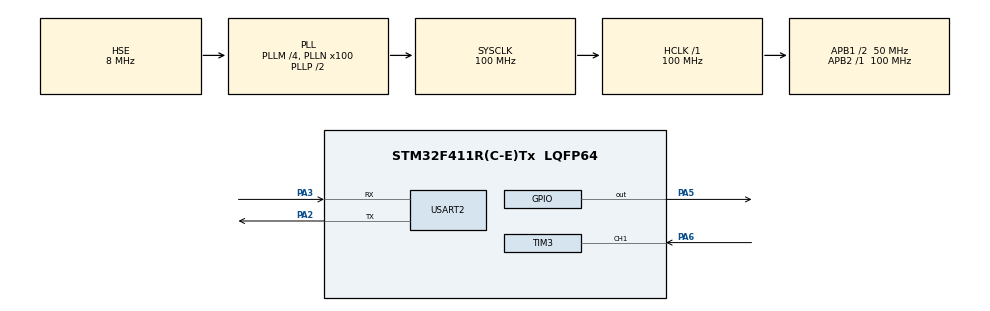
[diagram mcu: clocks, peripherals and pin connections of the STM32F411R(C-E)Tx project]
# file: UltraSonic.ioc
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Mcu.Family=STM32F4
Mcu.Name=STM32F411R(C-E)Tx
Mcu.Package=LQFP64
NVIC.PriorityGroup=NVIC_PRIORITYGROUP_4
NVIC.TIM3_IRQn=true\:0\:0\:false\:false\:true\:true\:true\:true
NVIC.USART2_IRQn=true\:0\:0\:false\:false\:true\:true\:true\:true
PA13.Mode=Serial_Wire
PA13.Signal=SYS_JTMS-SWDIO
PA14.Mode=Serial_Wire
PA14.Signal=SYS_JTCK-SWCLK
PA2.Mode=Asynchronous
PA2.Signal=USART2_TX
PA3.Mode=Asynchronous
PA3.Signal=USART2_RX
PA5.GPIO_Speed=GPIO_SPEED_FREQ_HIGH
PA5.Signal=GPIO_Output
PA6.Signal=S_TIM3_CH1
PH0\ -\ OSC_IN.Mode=HSE-External-Oscillator
PH0\ -\ OSC_IN.Signal=RCC_OSC_IN
PH1\ -\ OSC_OUT.Mode=HSE-External-Oscillator
PH1\ -\ OSC_OUT.Signal=RCC_OSC_OUT
ProjectManager.HeapSize=0x200
ProjectManager.StackSize=0x400
ProjectManager.TargetToolchain=STM32CubeIDE
RCC.48MHZClocksFreq_Value=50000000
RCC.AHBFreq_Value=100000000
RCC.APB1CLKDivider=RCC_HCLK_DIV2
RCC.APB1Freq_Value=50000000
RCC.APB1TimFreq_Value=100000000
RCC.APB2Freq_Value=100000000
RCC.APB2TimFreq_Value=100000000
RCC.CortexFreq_Value=100000000
RCC.HCLKFreq_Value=100000000
RCC.HSE_VALUE=8000000
RCC.HSI_VALUE=16000000
RCC.LSE_VALUE=32768
RCC.PLLM=4
RCC.PLLN=100
RCC.PLLSourceVirtual=RCC_PLLSOURCE_HSE
RCC.SYSCLKFreq_VALUE=100000000
RCC.SYSCLKSource=RCC_SYSCLKSOURCE_PLLCLK
RCC.VCOOutputFreq_Value=200000000
SH.S_TIM3_CH1.0=TIM3_CH1,Input_Capture1_from_TI1
TIM3.Channel-Input_Capture1_from_TI1=TIM_CHANNEL_1
TIM3.Prescaler=100-1
USART2.VirtualMode=VM_ASYNC
VP_TIM3_VS_ClockSourceINT.Mode=Internal
board=custom

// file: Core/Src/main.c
/* USER CODE BEGIN Header */
/**
  ******************************************************************************
  * @file           : main.c
  * @brief          : Main program body
  ******************************************************************************
  * @attention
  *
  * Copyright (c) 2023 STMicroelectronics.
  * All rights reserved.
  *
  * This software is licensed under terms that can be found in the LICENSE file
  * in the root directory of this software component.
  * If no LICENSE file comes with this software, it is provided AS-IS.
  *
  ******************************************************************************
  */
/* USER CODE END Header */
#include "main.h"
#include "tim.h"
#include "usart.h"
#include "gpio.h"

/* USER CODE BEGIN Includes */

#include "delay.h"
#include "stdio.h"

/* USER CODE END Includes */

/* USER CODE BEGIN PD */

#define TRIG_PORT   GPIOA
#define TRIG_PIN    GPIO_PIN_5

/* USER CODE END PD */

/* USER CODE BEGIN PM */
#ifdef __GNUC__
  /* With GCC, small printf (option LD Linker->Libraries->Small printf
     set to 'Yes') calls __io_putchar() */
  #define PUTCHAR_PROTOTYPE int __io_putchar(int ch)
#else
  #define PUTCHAR_PROTOTYPE int fputc(int ch, FILE *f)
#endif /* __GNUC__ */
PUTCHAR_PROTOTYPE
{
  /* Place your implementation of fputc here */
  /* e.g. write a character to the EVAL_COM1 and Loop until the end of transmission */
  HAL_UART_Transmit(&huart2, (uint8_t *)&ch, 1, 0xFFFF);

  return ch;
}
/* USER CODE END PM */

/* USER CODE BEGIN PV */

uint32_t INC_Value1 =0;         //first capture
uint32_t INC_Value2 =0;         //2nd capture
uint32_t ecoTime =0;            //between Rising falling
uint8_t captureFlag =0;         //status
uint8_t distance =0;            //distancd

/* USER CODE END PV */

void SystemClock_Config(void);
/* USER CODE BEGIN PFP */

void HAL_TIM_IC_CaptureHalfCpltCallback(TIM_HandleTypeDef *htim)
{

  if(htim->Channel == HAL_TIM_ACTIVE_CHANNEL_1)
  {
    if(captureFlag == 0)    //1st value not captured
    {
      INC_Value1 = HAL_TIM_ReadCapturedValue(&htim3, TIM_CHANNEL_1);        //read the 1st value
      captureFlag = 1;
      __HAL_TIM_SET_CAPTUREPOLARITY(htim,TIM_CHANNEL_1,TIM_INPUTCHANNELPOLARITY_FALLING);
    }
    else if(captureFlag == 1)       //1st is already value
    { INC_Value2 = HAL_TIM_ReadCapturedValue(&htim3, TIM_CHANNEL_1);
      __HAL_TIM_SET_COUNTER(htim,0);

      if(INC_Value2 > INC_Value1)
      {
        ecoTime = INC_Value2 - INC_Value1;
      }
      else if(INC_Value1 > INC_Value2)
      {
        ecoTime = (0xffff-INC_Value1) + INC_Value2;
      }
      distance = ecoTime/58;
      captureFlag = 0;

      __HAL_TIM_SET_CAPTUREPOLARITY(htim,TIM_CHANNEL_1,TIM_INPUTCHANNELPOLARITY_RISING);
      __HAL_TIM_DISABLE_IT(&htim3,TIM_IT_CC1);
    }
  }

}

void HCSR04(void)           //trig pin 10us
{

  HAL_GPIO_WritePin(TRIG_PORT, TRIG_PIN, GPIO_PIN_SET);
  delay_us(10);
  HAL_GPIO_WritePin(TRIG_PORT, TRIG_PIN, GPIO_PIN_RESET);

  __HAL_TIM_ENABLE_IT(&htim3,TIM_IT_CC1);
}

/* USER CODE END PFP */

int main(void)
{

  /* MCU Configuration--------------------------------------------------------*/

  /* Reset of all peripherals, Initializes the Flash interface and the Systick. */
  HAL_Init();

  /* Configure the system clock */
  SystemClock_Config();

  /* Initialize all configured peripherals */
  MX_GPIO_Init();
  MX_TIM3_Init();
  MX_USART2_UART_Init();
  /* USER CODE BEGIN 2 */
  HAL_TIM_IC_Start_IT(&htim3, TIM_CHANNEL_1);
  /* USER CODE END 2 */

  /* Infinite loop */
  while (1)
  {

    /* USER CODE BEGIN 3 */
    HCSR04();
    printf("%d cm\r\n",distance);
    HAL_Delay(500);
  }
  /* USER CODE END 3 */
}

void SystemClock_Config(void)
{
  RCC_OscInitTypeDef RCC_OscInitStruct = {0};
  RCC_ClkInitTypeDef RCC_ClkInitStruct = {0};

  /** Configure the main internal regulator output voltage
  */
  __HAL_RCC_PWR_CLK_ENABLE();
  __HAL_PWR_VOLTAGESCALING_CONFIG(PWR_REGULATOR_VOLTAGE_SCALE1);

  /** Initializes the RCC Oscillators according to the specified parameters
  * in the RCC_OscInitTypeDef structure.
  */
  RCC_OscInitStruct.OscillatorType = RCC_OSCILLATORTYPE_HSE;
  RCC_OscInitStruct.HSEState = RCC_HSE_ON;
  RCC_OscInitStruct.PLL.PLLState = RCC_PLL_ON;
  RCC_OscInitStruct.PLL.PLLSource = RCC_PLLSOURCE_HSE;
  RCC_OscInitStruct.PLL.PLLM = 4;
  RCC_OscInitStruct.PLL.PLLN = 100;
  RCC_OscInitStruct.PLL.PLLP = RCC_PLLP_DIV2;
  RCC_OscInitStruct.PLL.PLLQ = 4;
  if (HAL_RCC_OscConfig(&RCC_OscInitStruct) != HAL_OK)
  {
    Error_Handler();
  }

  /** Initializes the CPU, AHB and APB buses clocks
  */
  RCC_ClkInitStruct.ClockType = RCC_CLOCKTYPE_HCLK|RCC_CLOCKTYPE_SYSCLK
                              |RCC_CLOCKTYPE_PCLK1|RCC_CLOCKTYPE_PCLK2;
  RCC_ClkInitStruct.SYSCLKSource = RCC_SYSCLKSOURCE_PLLCLK;
  RCC_ClkInitStruct.AHBCLKDivider = RCC_SYSCLK_DIV1;
  RCC_ClkInitStruct.APB1CLKDivider = RCC_HCLK_DIV2;
  RCC_ClkInitStruct.APB2CLKDivider = RCC_HCLK_DIV1;

  if (HAL_RCC_ClockConfig(&RCC_ClkInitStruct, FLASH_LATENCY_3) != HAL_OK)
  {
    Error_Handler();
  }
}

void Error_Handler(void)
{
  __disable_irq();
  while (1)
  {
  }
}
